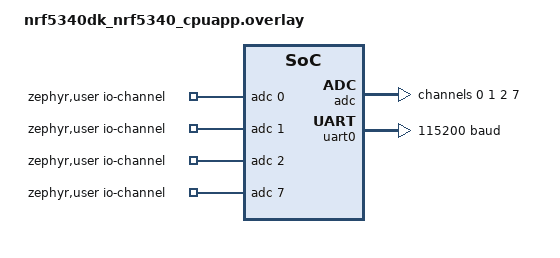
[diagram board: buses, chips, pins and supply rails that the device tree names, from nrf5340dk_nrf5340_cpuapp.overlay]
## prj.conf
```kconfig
#
# Copyright (c) 2018 Nordic Semiconductor
#
# SPDX-License-Identifier: LicenseRef-Nordic-5-Clause
#

# Logger module
#CONFIG_LOG=y    #Deeksha- commented this line and added below 2 lines for power reduction
CONFIG_LOG=n
CONFIG_SERIAL=n
CONFIG_ADC=y
# Segger RTT
# CONFIG_LOG_PRINTK=y
# CONFIG_USE_SEGGER_RTT=y
# CONFIG_RTT_CONSOLE=y
# CONFIG_UART_CONSOLE=n
# CONFIG_LOG_BACKEND_RTT=y
# CONFIG_LOG_BACKEND_UART=n
# CONFIG_ADC=y

# Bluetooth LE
CONFIG_BT=y
CONFIG_BT_DEVICE_NAME="MilliMobile"
CONFIG_BT_PERIPHERAL=y
CONFIG_BT_DEVICE_NAME_DYNAMIC=y
CONFIG_BT_OBSERVER=y
CONFIG_BT_BROADCASTER=y

# Increase stack size for the main thread and System Workqueue
CONFIG_SYSTEM_WORKQUEUE_STACK_SIZE=2048
CONFIG_MAIN_STACK_SIZE=2048

#CONFIG_PM=y
#CONFIG_PM_DEVICE=y
```

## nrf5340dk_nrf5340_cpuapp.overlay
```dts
// To get started, press Ctrl+Space (or Option+Esc) to bring up the completion menu and view the available nodes.

// You can also use the buttons in the sidebar to perform actions on nodes.
// Actions currently available include:

// * Enabling / disabling the node
// * Adding the bus to a bus
// * Removing the node
// * Connecting ADC channels

// For more help, browse the DeviceTree documentation at https://docs.zephyrproject.org/latest/guides/dts/index.html
// You can also visit the nRF DeviceTree extension documentation at https://nrfconnect.github.io/vscode-nrf-connect/devicetree/nrfdevicetree.html
/ {
	zephyr,user {
		io-channels = <&adc 0>, <&adc 1>, <&adc 2>, <&adc 7>;
	};
};

/ {
    chosen {
        zephyr,console = &uart0;
        zephyr,shell-uart = &uart0;
        zephyr,uart-mcumgr = &uart0;
    };
};

&adc {
	#address-cells = <1>;
	#size-cells = <0>;

	channel@0 {
		reg = <0>;
		zephyr,gain = "ADC_GAIN_1_6";
		zephyr,reference = "ADC_REF_INTERNAL";
		zephyr,acquisition-time = <ADC_ACQ_TIME(ADC_ACQ_TIME_MICROSECONDS, 40)>;
		zephyr,input-positive = <NRF_SAADC_AIN0>;
        zephyr,resolution = < 12 >;
	};

	channel@1 {
		reg = <1>;
		zephyr,gain = "ADC_GAIN_1_6";
		zephyr,reference = "ADC_REF_INTERNAL";
		zephyr,acquisition-time = <ADC_ACQ_TIME(ADC_ACQ_TIME_MICROSECONDS, 40)>;
		zephyr,input-positive = <NRF_SAADC_AIN1>;
        zephyr,resolution = < 12 >;
	};

	channel@2 {
		reg = <2>;
		zephyr,gain = "ADC_GAIN_1_6";
		zephyr,reference = "ADC_REF_INTERNAL";
		zephyr,acquisition-time = <ADC_ACQ_TIME(ADC_ACQ_TIME_MICROSECONDS, 40)>;
		zephyr,input-positive = <NRF_SAADC_AIN2>;
        zephyr,resolution = < 12 >;
	};

	channel@7 {
		reg = <7>;
		zephyr,gain = "ADC_GAIN_1";
		zephyr,reference = "ADC_REF_INTERNAL";
		zephyr,acquisition-time = <ADC_ACQ_TIME_DEFAULT>;
		zephyr,input-positive = <NRF_SAADC_AIN4>; // P0.25
		zephyr,input-negative = <NRF_SAADC_AIN3>; // P0.07
		zephyr,resolution = <12>;
		zephyr,oversampling = <4>; // oversampling to smooth out ADC noise
	};
}; 

&uart0 {
    current-speed = <115200>;
    status = "okay";
};

// &uart0 {
//    status = "disabled";
// };

// &uart1 {
//    status = "disabled";
//};
```

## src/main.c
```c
/*
 * Copyright (c) 2023 Nordic Semiconductor ASA
 *
 * SPDX-License-Identifier: LicenseRef-Nordic-5-Clause
 */

#include <zephyr/kernel.h>
#include <zephyr/logging/log.h>
#include <zephyr/bluetooth/bluetooth.h>
#include <zephyr/bluetooth/gap.h>
#include <zephyr/drivers/gpio.h>
#include <zephyr/drivers/adc.h>
#include <zephyr/pm/pm.h>
#include <zephyr/device.h>
#include <zephyr/sys/printk.h>
#include <zephyr/sys/time_units.h>


//#include <pm/pm.h>  
// #include <device.h> 
void robot_step(struct k_work *work);


//////////////////////// BLE //////////////////////////
#define MSEC_TO_BLE_UNITS(TIME_MS) ((TIME_MS) * 1000 / 625)

#define MIN_BLUETOOTH_INTERVAL MSEC_TO_BLE_UNITS(500)
#define MAX_BLUETOOTH_INTERVAL MSEC_TO_BLE_UNITS(501)

static struct bt_le_adv_param *adv_param =
    BT_LE_ADV_PARAM(BT_LE_ADV_OPT_NONE,
                    MIN_BLUETOOTH_INTERVAL,
                    MAX_BLUETOOTH_INTERVAL,
                    NULL);

#define DEVICE_NAME CONFIG_BT_DEVICE_NAME
#define DEVICE_NAME_LEN (sizeof(DEVICE_NAME) - 1)

static const struct bt_data ad[] = {
    BT_DATA_BYTES(BT_DATA_FLAGS, BT_LE_AD_NO_BREDR),
    BT_DATA(BT_DATA_NAME_COMPLETE, DEVICE_NAME, DEVICE_NAME_LEN),
};

//////////////////////// BLE //////////////////////////

//TIMING (all ms)
#define ADC_TIME 10 // Time delay to allow ADC reads of all channels
#define MOTOR_SHUTOFF_TIME 50 // Time delay to shutoff motors after being triggered
#define ROBOT_STEP_TIME 150 // Time delay between robot steps

/*Timing Constraints
ADC_TIME must be greater than the time it takes to read all ADC channels. readADC() is called ADC_TIME ms before robot_step() is called
MOTOR_SHUTOFF_TIME is the time the motors are left turned on after being triggered. This value must be smaller than ROBOT_STEP_TIME - ADC_TIME, 
        otherwise the ADC will be reading the motor capacitors while they are still being discharged
ROBOT_STEP_TIME is the time between robot steps. 

*/


//////////////////////// ADC //////////////////////////


// Constants for min val read on ADC for capacitor to discharge/recharge
#define SUPER_CAP_THRESHOLD_MV 2000 //190// Need to tune this value
#define MOTOR_CAP_RELEASE_THRESHOLD_MV 3000//310 //need to tune
#define SUPER_CAP_THRESHOLD (SUPER_CAP_THRESHOLD_MV / 2)
#define MOTOR_CAP_RELEASE_THRESHOLD (MOTOR_CAP_RELEASE_THRESHOLD_MV / 6)

// Define pins/state for capacitors
uint16_t cap_switch_state = 0; // 0: to supercap, 1: to motor cap
const struct device *gpio0;
const struct device *gpio1;
#define CAP_SWITCH_PIN 23  // gpio 0
#define MOTOR_1_CAP_PIN 13 // gpio 1
#define MOTOR_2_CAP_PIN 21 // gpio 0

// error variable
int err;

// ADC defs
#if !DT_NODE_EXISTS(DT_PATH(zephyr_user)) || \
	!DT_NODE_HAS_PROP(DT_PATH(zephyr_user), io_channels)
#error "No suitable devicetree overlay specified"
#endif

#define DT_SPEC_AND_COMMA(node_id, prop, idx) \
	ADC_DT_SPEC_GET_BY_IDX(node_id, idx),

/* Data of ADC io-channels specified in devicetree. */
static const struct adc_dt_spec adc_channels[] = {
	DT_FOREACH_PROP_ELEM(DT_PATH(zephyr_user), io_channels,
			     DT_SPEC_AND_COMMA)
};
uint32_t count = 0;
	uint16_t buf;
	struct adc_sequence sequence = {
		.buffer = &buf,
		/* buffer size in bytes, not number of samples */
		.buffer_size = sizeof(buf),
                .resolution = 10,
	};

// ADC MV Buffer
int32_t adc_outputs_mv[ARRAY_SIZE(adc_channels)];
#define SUPER_CAP_IDX 0
#define MOTOR_CAP_1_IDX 1
#define MOTOR_CAP_2_IDX 2

// Motion State (Left, Right, Straight)
#define STRAIGHT 0
#define LEFT 1
#define RIGHT 2
#define STOP 3
uint16_t motion_state = STRAIGHT;

K_WORK_DEFINE(robot_step_work, robot_step);

void robot_step_timer_handler(struct k_timer *dummy)
{
        k_work_submit(&robot_step_work);
}
K_TIMER_DEFINE(robot_step_timer, robot_step_timer_handler, NULL);


int initCapGPIO()
{
        gpio0 = device_get_binding(DEVICE_DT_NAME(DT_NODELABEL(gpio0)));
        gpio1 = device_get_binding(DEVICE_DT_NAME(DT_NODELABEL(gpio1)));
        int cap_switch_pin_err;
        int motor_1_cap_pin_err;
        int motor_2_cap_pin_err;

        cap_switch_pin_err = gpio_pin_configure(gpio0, CAP_SWITCH_PIN, GPIO_OUTPUT | GPIO_OUTPUT_INIT_LOW);
        motor_1_cap_pin_err = gpio_pin_configure(gpio1, MOTOR_1_CAP_PIN, GPIO_OUTPUT | GPIO_OUTPUT_INIT_LOW);
        motor_2_cap_pin_err = gpio_pin_configure(gpio0, MOTOR_2_CAP_PIN, GPIO_OUTPUT | GPIO_OUTPUT_INIT_LOW);
        if (cap_switch_pin_err < 0 || motor_1_cap_pin_err < 0 || motor_2_cap_pin_err < 0) return -1;

       // printk("GPIO initialized\n");

        return 0;
}

int initADC()
{
       /* Configure channels individually prior to sampling. */
	for (size_t i = 0U; i < ARRAY_SIZE(adc_channels); i++) {
		if (!device_is_ready(adc_channels[i].dev)) {
			//printk("ADC controller device %s not ready\n", adc_channels[i].dev->name);
			return 1;
		}

		err = adc_channel_setup_dt(&adc_channels[i]);

		if (err < 0) {
			//printk("Could not setup channel #%d (%d)\n", i, err);
			return 1;
		}
	}
        return 0;
}

void readADC(struct k_work *work) //reads all ADC channels and stores mV outputs in adc_outputs_mv array
{
       //printk("ADC reading[%u]:\n", count++);
        for (size_t i = 0U; i < ARRAY_SIZE(adc_channels); i++) {

                //printk("- %s, channel %d: ",
                //        adc_channels[i].dev->name,
                //        adc_channels[i].channel_id);
                

                (void)adc_sequence_init_dt(&adc_channels[i], &sequence);

                err = adc_read(adc_channels[i].dev, &sequence);
                if (err < 0) {
                        //printk("Could not read (%d)\n", err);
                        continue;
                }

                /*
                        * If using differential mode, the 16 bit value
                        * in the ADC sample buffer should be a signed 2's
                        * complement value.
                        */
                if (adc_channels[i].channel_cfg.differential) {
                        adc_outputs_mv[i] = (int32_t)((int16_t)buf);
                } else {
                        adc_outputs_mv[i] = (int32_t)buf;
                }
               // printk("Raw Value: %d, ", adc_outputs_mv[i]);
                //adc_outputs_mv[i] = adc_raw_to_millivolts_dt(&adc_channels[i], &val);
                adc_raw_to_millivolts(adc_ref_internal(adc_channels[i].dev), adc_channels[i].channel_cfg.gain, adc_channels[i].resolution, &adc_outputs_mv[i]);
                //adc_outputs_mv[i] = (int32_t)buf;
               // printk("MV Value: %d\n", adc_outputs_mv[i]);
        }
}
K_WORK_DEFINE(adc_work, readADC);

void adc_timer_handler(struct k_timer *dummy)
{
        k_work_submit(&adc_work);
}
K_TIMER_DEFINE(adc_timer, adc_timer_handler, NULL);

void motorShutoff(struct k_work *work)
{
        gpio_pin_set(gpio1, MOTOR_1_CAP_PIN, 0);
        gpio_pin_set(gpio0, MOTOR_2_CAP_PIN, 0);
}

K_WORK_DEFINE(motor_shutoff_work, motorShutoff);

void motor_shutoff_timer_handler(struct k_timer *dummy)
{
        k_work_submit(&motor_shutoff_work);
}
K_TIMER_DEFINE(motor_shutoff_timer, motor_shutoff_timer_handler, NULL);


void robot_step(struct k_work *work)
{       
        if(adc_outputs_mv[SUPER_CAP_IDX] <= SUPER_CAP_THRESHOLD){
                gpio_pin_set(gpio0, CAP_SWITCH_PIN, 0);
                //printk("Switching to supercap\n");
        }
        else
        {
                gpio_pin_set(gpio0, CAP_SWITCH_PIN, 1);
                //printk("Switching to motor caps\n");
                if(adc_outputs_mv[MOTOR_CAP_1_IDX] >= MOTOR_CAP_RELEASE_THRESHOLD && adc_outputs_mv[MOTOR_CAP_2_IDX] >= MOTOR_CAP_RELEASE_THRESHOLD){
                        switch (motion_state)
                        {
                        case STRAIGHT:
                                gpio_pin_set(gpio1, MOTOR_1_CAP_PIN, 1);
                                gpio_pin_set(gpio0, MOTOR_2_CAP_PIN, 1);
                                break;
                        
                        case LEFT:
                                gpio_pin_set(gpio0, MOTOR_2_CAP_PIN, 1);                    
                                break;
                        case RIGHT:
                                gpio_pin_set(gpio1, MOTOR_1_CAP_PIN, 1);
                                break;
                        case STOP:
                                /* do nothing lol */
                                break;
                        default:
                                break;  
                        }
                       // printk("motors triggered\n");
                        
                        k_timer_start(&motor_shutoff_timer, K_MSEC(MOTOR_SHUTOFF_TIME), K_NO_WAIT);
                }
        }
        k_timer_start(&adc_timer, K_MSEC(ROBOT_STEP_TIME - ADC_TIME), K_NO_WAIT);
        k_timer_start(&robot_step_timer, K_MSEC(ROBOT_STEP_TIME), K_NO_WAIT);
        //printk("Robot Step\n");
        return;
}
void main(void)
{
	if (initCapGPIO() != 0) return;

	if (initADC() != 0) return;

	k_timer_start(&adc_timer, K_MSEC(ADC_TIME), K_NO_WAIT);
        k_timer_start(&robot_step_timer, K_MSEC(ADC_TIME*2), K_NO_WAIT);

	err = bt_enable(NULL);
	if (err) return;

	err = bt_le_adv_start(adv_param, ad, ARRAY_SIZE(ad), NULL, 0);
	if (err) return;

	for (;;) {
		k_cpu_idle();
	}
}
```

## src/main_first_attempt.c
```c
/*
 * Copyright (c) 2023 Nordic Semiconductor ASA
 *
 * SPDX-License-Identifier: LicenseRef-Nordic-5-Clause
 */

#include <zephyr/kernel.h>
#include <zephyr/logging/log.h>
#include <zephyr/bluetooth/bluetooth.h>
#include <zephyr/bluetooth/gap.h>
#include <zephyr/bluetooth/hci.h>
#include <zephyr/drivers/gpio.h>
#include <zephyr/drivers/adc.h>
#include <zephyr/pm/pm.h>
#include <zephyr/device.h>
#include <zephyr/sys/printk.h>
#include <zephyr/sys/time_units.h>

// laser communication includes
#include <inttypes.h>
#include <stddef.h>
#include <stdint.h>

#include <zephyr/device.h>
#include <zephyr/devicetree.h>
#include <zephyr/drivers/adc.h>
#include <zephyr/kernel.h>
#include <zephyr/sys/printk.h>
#include <zephyr/sys/util.h>

#if !DT_NODE_EXISTS(DT_PATH(zephyr_user)) || !DT_NODE_HAS_PROP(DT_PATH(zephyr_user), io_channels)
	#error "No suitable devicetree overlay specified"
#endif

// Create array of available ADC channels
#define DT_SPEC_AND_COMMA(node_id, prop, idx) ADC_DT_SPEC_GET_BY_IDX(node_id, idx),

int adc_err = 0; // ADC errors
int32_t adc_val = 0; // Latest ADC value
uint16_t adc_val_buf; // ADC buffer to use for mV conversion 
struct adc_sequence adc_seq = {
	.buffer = &adc_val_buf,
	.buffer_size = sizeof(adc_val_buf)
};

void robot_step(struct k_work *work);

//////////////////////// BLE //////////////////////////
#define MSEC_TO_BLE_UNITS(TIME_MS) ((TIME_MS) * 1000 / 625)

#define MIN_BLUETOOTH_INTERVAL MSEC_TO_BLE_UNITS(500)
#define MAX_BLUETOOTH_INTERVAL MSEC_TO_BLE_UNITS(501)

static struct bt_le_adv_param *adv_param =
    BT_LE_ADV_PARAM(BT_LE_ADV_OPT_NONE,
                    MIN_BLUETOOTH_INTERVAL,
                    MAX_BLUETOOTH_INTERVAL,
                    NULL);

#define DEVICE_NAME CONFIG_BT_DEVICE_NAME
#define DEVICE_NAME_LEN (sizeof(DEVICE_NAME) - 1)

static const struct bt_data ad[] = {
    BT_DATA_BYTES(BT_DATA_FLAGS, BT_LE_AD_NO_BREDR),
    BT_DATA(BT_DATA_NAME_COMPLETE, DEVICE_NAME, DEVICE_NAME_LEN),
};

//////////////////////// BLE //////////////////////////

//TIMING (all ms)
#define ADC_TIME 10 // Time delay to allow ADC reads of all channels
#define MOTOR_SHUTOFF_TIME 50 // Time delay to shutoff motors after being triggered
#define ROBOT_STEP_TIME 150 // Time delay between robot steps

/*Timing Constraints
ADC_TIME must be greater than the time it takes to read all ADC channels. readADC() is called ADC_TIME ms before robot_step() is called
MOTOR_SHUTOFF_TIME is the time the motors are left turned on after being triggered. This value must be smaller than ROBOT_STEP_TIME - ADC_TIME, 
        otherwise the ADC will be reading the motor capacitors while they are still being discharged
ROBOT_STEP_TIME is the time between robot steps. 

*/


//////////////////////// ADC //////////////////////////


// Constants for min val read on ADC for capacitor to discharge/recharge
#define SUPER_CAP_THRESHOLD_MV 2000 //190// Need to tune this value
#define MOTOR_CAP_RELEASE_THRESHOLD_MV 3000//310 //need to tune
#define SUPER_CAP_THRESHOLD (SUPER_CAP_THRESHOLD_MV / 2)
#define MOTOR_CAP_RELEASE_THRESHOLD (MOTOR_CAP_RELEASE_THRESHOLD_MV / 6)

// Define pins/state for capacitors
uint16_t cap_switch_state = 0; // 0: to supercap, 1: to motor cap
const struct device *gpio0;
const struct device *gpio1;
#define CAP_SWITCH_PIN 23  // gpio 0
#define MOTOR_1_CAP_PIN 13 // gpio 1
#define MOTOR_2_CAP_PIN 21 // gpio 0

// error variable
int err;

// ADC defs
#if !DT_NODE_EXISTS(DT_PATH(zephyr_user)) || \
	!DT_NODE_HAS_PROP(DT_PATH(zephyr_user), io_channels)
#error "No suitable devicetree overlay specified"
#endif

#define DT_SPEC_AND_COMMA(node_id, prop, idx) \
	ADC_DT_SPEC_GET_BY_IDX(node_id, idx),

/* Data of ADC io-channels specified in devicetree. */
static const struct adc_dt_spec adc_channels[] = {
	DT_FOREACH_PROP_ELEM(DT_PATH(zephyr_user), io_channels,
			     DT_SPEC_AND_COMMA)
};
uint32_t count = 0;
uint16_t buf;
struct adc_sequence sequence = {
        .buffer = &buf,
        /* buffer size in bytes, not number of samples */
        .buffer_size = sizeof(buf),
        .resolution = 10,
};



// ADC MV Buffer
int32_t adc_outputs_mv[ARRAY_SIZE(adc_channels)];
#define SUPER_CAP_IDX 0
#define MOTOR_CAP_1_IDX 1
#define MOTOR_CAP_2_IDX 2

// Constants
#define FS_HZ 200 // Sampling frequency [Hz]
#define N 64 // Number of samples in ADC buffer (larger ==> smoother ==> slower)
#define M 16 // Number of samples in frequency buffer (larger ==> smoother ==> slower)
#define ADC_COMMS_CHAN 7 // ADC channel to use for communication
#define MIN_MV_RANGE 0 // Minimum peak-to-peak mV needed to establish communication
#define DEMOD_THRESH 50 // Threshold in [0, 100] to use as demodulation threshold

#define COMM_INTERVAL_MS (1000 / FS_HZ) // Interval in milliseconds


K_WORK_DEFINE(robot_step_work, robot_step);

void robot_step_timer_handler(struct k_timer *dummy)
{
        k_work_submit(&robot_step_work);
}
K_TIMER_DEFINE(robot_step_timer, robot_step_timer_handler, NULL);

void comm_timer_handler(struct k_timer *dummy);
void comm_sampling_work_handler(struct k_work *work);

K_TIMER_DEFINE(comm_timer, comm_timer_handler, NULL);
K_WORK_DEFINE(comm_work, comm_sampling_work_handler);

void comm_timer_handler(struct k_timer *dummy) {
	k_work_submit(&comm_work);
}

// Buffer stats
typedef struct buffer_stats {
	int avg;
	int max;
	int min;
	int range;
} buffer_stats;

// ADC ring buffer of size N
int adc_buf[N] = {0};
int n = 0;
struct buffer_stats adc_stats;

// FSK ring buffer
int f_buf[M] = {0};
int m = 0;
struct buffer_stats f_stats;

// Demodulation vars
int norm = 0;
int64_t t_rise_prev = 0;
bool state = 0;

int command = 0; // -1 left, 0 straight, 1 right
int consecutive_count_12hz = 0;
int consecutive_count_25hz = 0;
const int HYSTERESIS_THRESHOLD = 3; 

const float F_AVG_12HZ_LOWER = 11.0; // Upper bound: 1 / (12 Hz + 1 Hz)
const float F_AVG_12HZ_UPPER = 13.0; // Lower bound: 1 / (12 Hz - 1 Hz)
const float F_AVG_25HZ_LOWER = 24.0; // Upper bound: 1 / (25 Hz + 1 Hz)
const float F_AVG_25HZ_UPPER = 26.0;

void update_command(int f_avg) {
    // Print the f_avg value
    // int f_avg_scaled = (int)(f_avg * 1000); // Scale to show three decimal places
    // printk(">f_avg: %d.%03d ms\n", f_avg_scaled / 1000, f_avg_scaled % 1000);

    // Check for 12 Hz range using f_avg
    if (f_avg >= F_AVG_12HZ_LOWER && f_avg <= F_AVG_12HZ_UPPER) {
        consecutive_count_25hz = 0; // Reset the other frequency's counter
        if (++consecutive_count_12hz >= HYSTERESIS_THRESHOLD) {
            command = -1;
            consecutive_count_12hz = HYSTERESIS_THRESHOLD; // Cap the count to avoid overflow
        }
    }
    // Check for 25 Hz range using f_avg
    else if (f_avg >= F_AVG_25HZ_LOWER && f_avg <= F_AVG_25HZ_UPPER) {
        consecutive_count_12hz = 0; // Reset the other frequency's counter
        if (++consecutive_count_25hz >= HYSTERESIS_THRESHOLD) {
            command = 1;
            consecutive_count_25hz = HYSTERESIS_THRESHOLD; // Cap the count to avoid overflow
        }
    }
    // Outside the target ranges
    else {
        consecutive_count_12hz = 0;
        consecutive_count_25hz = 0;
        command = 0;
    }
}

// Update buffer stats
void update_buffer_stats(int *buffer, int len, buffer_stats *stats) {
	int max = -100000;
	int min = 100000;
	for (int j = 0; j < len; j++) {
		stats->avg += buffer[j];
		if (buffer[j] <= min) { min = buffer[j]; }
		if (buffer[j] >= max) { max = buffer[j]; }
	}
	stats->min = min;
	stats->max = max;
	stats->avg /= len;
	stats->range = NRFX_ABS(stats->max - stats->min);
}

void comm_sampling_work_handler(struct k_work *work)
{
    // Perform ADC sampling + conversion on all available channels
    for (size_t i = 0U; i < ARRAY_SIZE(adc_channels); i++) {
        (void) adc_sequence_init_dt(&adc_channels[i], &adc_seq);
        adc_err = adc_read_dt(&adc_channels[i], &adc_seq);
        if (adc_err < 0) {
            printk("Could not read ADC channel (%d)\n", adc_err);
            continue;
        }
        if (adc_channels[i].channel_cfg.differential) {
            adc_val = (int32_t) ((int16_t) adc_val_buf);
        } else {
            adc_val = (int32_t) adc_val_buf;
        }
        adc_err = adc_raw_to_millivolts_dt(&adc_channels[i], &adc_val);
        if (adc_err < 0) {
            printk("ADC conversion to mV failed (%d)\n", adc_err);
        } else if (adc_channels[i].channel_id == ADC_COMMS_CHAN) {
            // Store the comm's ADC value in ring buffer
            adc_buf[n % N] = adc_val;
            n += 1;
        }
    }

    // Compute ADC buffer stats
    update_buffer_stats(adc_buf, N, &adc_stats);
    
    // Normalize adc_value to [0, 100]
    norm = 100.0 * (adc_val - adc_stats.min) / (adc_stats.max - adc_stats.min);
    
    // Start timer on 0->1 transition
    if ((norm > DEMOD_THRESH) & (state == 0)) {
        f_buf[m % M] = DIV_ROUND_CLOSEST(1000, k_uptime_get() - t_rise_prev);
        m += 1;
        t_rise_prev = k_uptime_get();
        state = 1;
    // Update state on 1->0 transition
    } else if ((norm < DEMOD_THRESH) & (state == 1)) {
        state = 0;
    }
    printk("value:%d\n", norm);
    printk("state:%d\n", state);

    // Compute stats on received freqs
    update_buffer_stats(f_buf, M, &f_stats);

    // Output
    if (NRFX_ABS(adc_stats.range) >= MIN_MV_RANGE) {
        printk(">mv:%d\n", adc_val);
        printk(">norm:%d\n", norm);
        printk(">favg:%d\n", f_stats.avg);
        printk(">mvrange:%d\n", adc_stats.range);
    }
    update_command(f_stats.avg);
}

int initCapGPIO()
{
        gpio0 = device_get_binding(DEVICE_DT_NAME(DT_NODELABEL(gpio0)));
        gpio1 = device_get_binding(DEVICE_DT_NAME(DT_NODELABEL(gpio1)));
        int cap_switch_pin_err;
        int motor_1_cap_pin_err;
        int motor_2_cap_pin_err;

        cap_switch_pin_err = gpio_pin_configure(gpio0, CAP_SWITCH_PIN, GPIO_OUTPUT | GPIO_OUTPUT_INIT_LOW);
        motor_1_cap_pin_err = gpio_pin_configure(gpio1, MOTOR_1_CAP_PIN, GPIO_OUTPUT | GPIO_OUTPUT_INIT_LOW);
        motor_2_cap_pin_err = gpio_pin_configure(gpio0, MOTOR_2_CAP_PIN, GPIO_OUTPUT | GPIO_OUTPUT_INIT_LOW);
        if (cap_switch_pin_err < 0 || motor_1_cap_pin_err < 0 || motor_2_cap_pin_err < 0) return -1;

       // printk("GPIO initialized\n");

        return 0;
}

int initADC()
{
       /* Configure channels individually prior to sampling. */
	for (size_t i = 0U; i < ARRAY_SIZE(adc_channels); i++) {
		if (!device_is_ready(adc_channels[i].dev)) {
			//printk("ADC controller device %s not ready\n", adc_channels[i].dev->name);
			return 1;
		}

		err = adc_channel_setup_dt(&adc_channels[i]);

		if (err < 0) {
			//printk("Could not setup channel #%d (%d)\n", i, err);
			return 1;
		}
	}
        return 0;
}

void readADC(struct k_work *work) //reads all ADC channels and stores mV outputs in adc_outputs_mv array
{
       //printk("ADC reading[%u]:\n", count++);
        for (size_t i = 0U; i < ARRAY_SIZE(adc_channels); i++) {

                //printk("- %s, channel %d: ",
                //        adc_channels[i].dev->name,
                //        adc_channels[i].channel_id);
                

                (void)adc_sequence_init_dt(&adc_channels[i], &sequence);

                err = adc_read(adc_channels[i].dev, &sequence);
                if (err < 0) {
                        //printk("Could not read (%d)\n", err);
                        continue;
                }

                /*
                        * If using differential mode, the 16 bit value
                        * in the ADC sample buffer should be a signed 2's
                        * complement value.
                        */
                if (adc_channels[i].channel_cfg.differential) {
                        adc_outputs_mv[i] = (int32_t)((int16_t)buf);
                } else {
                        adc_outputs_mv[i] = (int32_t)buf;
                }
               // printk("Raw Value: %d, ", adc_outputs_mv[i]);
                //adc_outputs_mv[i] = adc_raw_to_millivolts_dt(&adc_channels[i], &val);
                adc_raw_to_millivolts(adc_ref_internal(adc_channels[i].dev), adc_channels[i].channel_cfg.gain, adc_channels[i].resolution, &adc_outputs_mv[i]);
                //adc_outputs_mv[i] = (int32_t)buf;
               // printk("MV Value: %d\n", adc_outputs_mv[i]);
        }
        // update_advertising_data(adc_outputs_mv[MOTOR_CAP_1_IDX]);
        int current_command = command;

        // Perform actions based on the command value
        switch (current_command) {
                case -1:
                // Action for command = -1
                printk("Command is -1: Performing action for 12 Hz\n");
                break;
                case 0:
                // Action for command = 0
                printk("Command is 0: Performing default action\n");
                break;
                case 1:
                // Action for command = 1
                printk("Command is 1: Performing action for 25 Hz\n");
                break;
                default:
                // Handle unexpected command values
                printk("Unexpected command value: %d\n", current_command);
                break;
        }


}
K_WORK_DEFINE(adc_work, readADC);

void adc_timer_handler(struct k_timer *dummy)
{
        k_work_submit(&adc_work);
}
K_TIMER_DEFINE(adc_timer, adc_timer_handler, NULL);

void motorShutoff(struct k_work *work)
{
        gpio_pin_set(gpio1, MOTOR_1_CAP_PIN, 0);
        gpio_pin_set(gpio0, MOTOR_2_CAP_PIN, 0);
}

K_WORK_DEFINE(motor_shutoff_work, motorShutoff);

void motor_shutoff_timer_handler(struct k_timer *dummy)
{
        k_work_submit(&motor_shutoff_work);
}
K_TIMER_DEFINE(motor_shutoff_timer, motor_shutoff_timer_handler, NULL);


void robot_step(struct k_work *work)
{       
        if(adc_outputs_mv[SUPER_CAP_IDX] <= SUPER_CAP_THRESHOLD){
                gpio_pin_set(gpio0, CAP_SWITCH_PIN, 0);
                //printk("Switching to supercap\n");
        }
        else
        {
                gpio_pin_set(gpio0, CAP_SWITCH_PIN, 1);
                //printk("Switching to motor caps\n");
                if(adc_outputs_mv[MOTOR_CAP_1_IDX] >= MOTOR_CAP_RELEASE_THRESHOLD && adc_outputs_mv[MOTOR_CAP_2_IDX] >= MOTOR_CAP_RELEASE_THRESHOLD){
                       // printk("motors triggered\n");
                        gpio_pin_set(gpio1, MOTOR_1_CAP_PIN, 1);
                        gpio_pin_set(gpio0, MOTOR_2_CAP_PIN, 1);
                        k_timer_start(&motor_shutoff_timer, K_MSEC(MOTOR_SHUTOFF_TIME), K_NO_WAIT);
                }
        }
        k_timer_start(&adc_timer, K_MSEC(ROBOT_STEP_TIME - ADC_TIME), K_NO_WAIT);
        k_timer_start(&robot_step_timer, K_MSEC(ROBOT_STEP_TIME), K_NO_WAIT);
        //printk("Robot Step\n");
        return;
}
void main(void)
{
        printk("hello\n");
	if (initCapGPIO() != 0) return;

	if (initADC() != 0) return;

	k_timer_start(&adc_timer, K_MSEC(ADC_TIME), K_NO_WAIT);
        k_timer_start(&comm_timer, K_MSEC(COMM_INTERVAL_MS), K_NO_WAIT);
        k_timer_start(&robot_step_timer, K_MSEC(ADC_TIME*2), K_NO_WAIT);

	err = bt_enable(NULL);
	if (err) return;

        err = bt_le_adv_start(adv_param, ad, ARRAY_SIZE(ad), NULL, 0);
        // err = bt_le_adv_start(adv_param, ad, ARRAY_SIZE(ad), sd, ARRAY_SIZE(sd));
	if (err) return;

	for (;;) {
		k_cpu_idle();
	}
}
```

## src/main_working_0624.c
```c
/*
 * Copyright (c) 2023 Nordic Semiconductor ASA
 *
 * SPDX-License-Identifier: LicenseRef-Nordic-5-Clause
 */

#include <zephyr/kernel.h>
#include <zephyr/logging/log.h>
#include <zephyr/bluetooth/bluetooth.h>
#include <zephyr/bluetooth/gap.h>
#include <zephyr/bluetooth/hci.h>
#include <zephyr/drivers/gpio.h>
#include <zephyr/drivers/adc.h>
#include <zephyr/pm/pm.h>
#include <zephyr/device.h>
#include <zephyr/sys/printk.h>
#include <zephyr/sys/time_units.h>

#include <inttypes.h>
#include <stddef.h>
#include <stdint.h>

#include <zephyr/device.h>
#include <zephyr/devicetree.h>
#include <zephyr/drivers/adc.h>
#include <zephyr/kernel.h>
#include <zephyr/sys/printk.h>
#include <zephyr/sys/util.h>

#if !DT_NODE_EXISTS(DT_PATH(zephyr_user)) || !DT_NODE_HAS_PROP(DT_PATH(zephyr_user), io_channels)
	#error "No suitable devicetree overlay specified"
#endif

#define DT_SPEC_AND_COMMA(node_id, prop, idx) ADC_DT_SPEC_GET_BY_IDX(node_id, idx),
/* Data of ADC io-channels specified in devicetree. */
static const struct adc_dt_spec adc_channels[] = {
	DT_FOREACH_PROP_ELEM(DT_PATH(zephyr_user), io_channels,
			     DT_SPEC_AND_COMMA)
};

int adc_err = 0; // ADC errors
int32_t adc_val = 0; // Latest ADC value
uint16_t adc_val_buf; // ADC buffer to use for mV conversion 
struct adc_sequence adc_seq = {
	.buffer = &adc_val_buf,
	.buffer_size = sizeof(adc_val_buf)
};

// Constants
#define FS_HZ 500 // Sampling frequency [Hz]
#define N 32 // Number of samples in ADC buffer (larger ==> smoother ==> slower)
#define M 8 // Number of samples in frequency buffer (larger ==> smoother ==> slower)
#define ADC_COMMS_CHAN 7 // ADC channel to use for communication
#define MIN_MV_RANGE 0 // Minimum peak-to-peak mV needed to establish communication
#define DEMOD_THRESH 50 // Threshold in [0, 100] to use as demodulation threshold

#define COMM_INTERVAL_MS (1000 / FS_HZ) // Interval in milliseconds

void comm_timer_handler(struct k_timer *dummy);
void comm_sampling_work_handler(struct k_work *work);

K_TIMER_DEFINE(comm_timer, comm_timer_handler, NULL);
K_WORK_DEFINE(comm_work, comm_sampling_work_handler);

void comm_timer_handler(struct k_timer *dummy) {
	k_work_submit(&comm_work);
}

// Buffer stats
typedef struct buffer_stats {
	float avg;
	int max;
	int min;
	int range;
} buffer_stats;

// ADC ring buffer of size N
int adc_buf[N] = {0};
int n = 0;
struct buffer_stats adc_stats;

// FSK ring buffer
int f_buf[M] = {0};
int m = 0;
struct buffer_stats f_stats;

// Demodulation vars
int norm = 0;
int64_t t_rise_prev = 0;
bool state = 0;

// Update buffer stats
void update_buffer_stats(int *buffer, int len, buffer_stats *stats) {
	int max = -100000;
	int min = 100000;
	for (int j = 0; j < len; j++) {
		stats->avg += buffer[j];
		if (buffer[j] <= min) { min = buffer[j]; }
		if (buffer[j] >= max) { max = buffer[j]; }
	}
	stats->min = min;
	stats->max = max;
	stats->avg /= len;
	stats->range = NRFX_ABS(stats->max - stats->min);
}

int command = 0;
int consecutive_count_12hz = 0;
int consecutive_count_25hz = 0;
const int HYSTERESIS_THRESHOLD = 3; 

const float F_AVG_12HZ_LOWER = 11.5; // Upper bound: 1 / (12 Hz + 1 Hz)
const float F_AVG_12HZ_UPPER = 12.5; // Lower bound: 1 / (12 Hz - 1 Hz)
const float F_AVG_25HZ_LOWER = 24.5; // Upper bound: 1 / (25 Hz + 1 Hz)
const float F_AVG_25HZ_UPPER = 25.5;

int64_t prev_time = 0;

void update_command(int f_avg) {
	printk(">f_avg: %d\n", f_avg);
    // printk(">time: %d\n", DIV_ROUND_CLOSEST(100000, k_uptime_get() - prev_time));
    // printk(">time: %lld ms\n", k_uptime_get());
    // prev_time = k_uptime_get();

    // Check for 12 Hz range using f_avg
    if (f_avg >= F_AVG_12HZ_LOWER && f_avg <= F_AVG_12HZ_UPPER) {
        consecutive_count_25hz = 0; // Reset the other frequency's counter
        if (++consecutive_count_12hz >= HYSTERESIS_THRESHOLD) {
            command = -1;
            consecutive_count_12hz = HYSTERESIS_THRESHOLD; // Cap the count to avoid overflow
        }
    }
    // Check for 25 Hz range using f_avg
    else if (f_avg >= F_AVG_25HZ_LOWER && f_avg <= F_AVG_25HZ_UPPER) {
        consecutive_count_12hz = 0; // Reset the other frequency's counter
        if (++consecutive_count_25hz >= HYSTERESIS_THRESHOLD) {
            command = 1;
            consecutive_count_25hz = HYSTERESIS_THRESHOLD; // Cap the count to avoid overflow
        }
    }
    // Outside the target ranges
    else {
        consecutive_count_12hz = 0;
        consecutive_count_25hz = 0;
        command = 0;
    }
    // printk(">comm: %d\n", command);
}

void command_work_handler(struct k_work *work);
void command_timer_handler(struct k_timer *dummy);

#define COMMAND_TIMER_INTERVAL_MS 150

K_WORK_DEFINE(command_work, command_work_handler);
K_TIMER_DEFINE(command_timer, command_timer_handler, NULL);

void command_work_handler(struct k_work *work)
{
    // Read the current command value
    int current_command = command;

    // Perform actions based on the command value
    switch (current_command) {
        case -1:
            // Action for command = -1
            printk("Command is -1: Performing action for 12 Hz\n");
            break;
        case 0:
            // Action for command = 0
            printk("Command is 0: Performing default action\n");
            break;
        case 1:
            // Action for command = 1
            printk("Command is 1: Performing action for 25 Hz\n");
            break;
        default:
            // Handle unexpected command values
            printk("Unexpected command value: %d\n", current_command);
            break;
    }
}

void command_timer_handler(struct k_timer *dummy)
{
    k_work_submit(&command_work);
}

int print_count = 0;

void comm_sampling_work_handler(struct k_work *work)
{
    // Perform ADC sampling + conversion on all available channels
    for (size_t i = 0U; i < ARRAY_SIZE(adc_channels); i++) {
        (void) adc_sequence_init_dt(&adc_channels[i], &adc_seq);
        adc_err = adc_read_dt(&adc_channels[i], &adc_seq);
        if (adc_err < 0) {
            printk("Could not read ADC channel (%d)\n", adc_err);
            continue;
        }
        if (adc_channels[i].channel_cfg.differential) {
            adc_val = (int32_t) ((int16_t) adc_val_buf);
        } else {
            adc_val = (int32_t) adc_val_buf;
        }
        adc_err = adc_raw_to_millivolts_dt(&adc_channels[i], &adc_val);
        if (adc_err < 0) {
            printk("ADC conversion to mV failed (%d)\n", adc_err);
        } else if (adc_channels[i].channel_id == ADC_COMMS_CHAN) {
            // Store the comm's ADC value in ring buffer
            adc_buf[n % N] = adc_val;
            n += 1;
        }
    }

    // Compute ADC buffer stats
    update_buffer_stats(adc_buf, N, &adc_stats);
    
    // Normalize adc_value to [0, 100]
    norm = 100.0 * (adc_val - adc_stats.min) / (adc_stats.max - adc_stats.min);
    
    // Start timer on 0->1 transition
    if ((norm > DEMOD_THRESH) & (state == 0)) {
        f_buf[m % M] = DIV_ROUND_CLOSEST(1000, k_uptime_get() - t_rise_prev);
        m += 1;
        t_rise_prev = k_uptime_get();
        state = 1;
    // Update state on 1->0 transition
    } else if ((norm < DEMOD_THRESH) & (state == 1)) {
        state = 0;
    }
    ++print_count;
    if (print_count % 2 == 0) {
        printk(">value:%d\n", norm);
    }
    // printk(">state:%d\n", state);

    // Compute stats on received freqs
    update_buffer_stats(f_buf, M, &f_stats);

    // Output
    if (NRFX_ABS(adc_stats.range) >= MIN_MV_RANGE) {
        // printk(">mv:%d\n", adc_val);
        // printk(">norm:%d\n", norm);
        // printk(">favg:%d\n", f_stats.avg);
        // printk(">mvrange:%d\n", adc_stats.range);
    }

	update_command(f_stats.avg);
}

void robot_step(struct k_work *work);

//////////////////////// BLE //////////////////////////
#define MSEC_TO_BLE_UNITS(TIME_MS) ((TIME_MS) * 1000 / 625)

#define MIN_BLUETOOTH_INTERVAL MSEC_TO_BLE_UNITS(500)
#define MAX_BLUETOOTH_INTERVAL MSEC_TO_BLE_UNITS(501)

static struct bt_le_adv_param *adv_param =
    BT_LE_ADV_PARAM(BT_LE_ADV_OPT_NONE,
                    MIN_BLUETOOTH_INTERVAL,
                    MAX_BLUETOOTH_INTERVAL,
                    NULL);

#define DEVICE_NAME CONFIG_BT_DEVICE_NAME
#define DEVICE_NAME_LEN (sizeof(DEVICE_NAME) - 1)

static const struct bt_data ad[] = {
    BT_DATA_BYTES(BT_DATA_FLAGS, BT_LE_AD_NO_BREDR),
    BT_DATA(BT_DATA_NAME_COMPLETE, DEVICE_NAME, DEVICE_NAME_LEN),
};

// #define CUSTOM_ADV_TYPE 0xFF 
// #define COMPANY_ID_CODE 0x0059

// typedef struct the_adc_data {
//         uint16_t company_id;
//         int32_t adc_value;
// } the_adc_data_type;

// static the_adc_data_type the_adc_data = {COMPANY_ID_CODE, 0x00};

// static const struct bt_data ad[] = {
//         BT_DATA_BYTES(BT_DATA_FLAGS, BT_LE_AD_NO_BREDR),
//         BT_DATA(CUSTOM_ADV_TYPE, (const uint8_t *)&the_adc_data, sizeof(the_adc_data)),
// };

// static struct bt_data sd[1];

// void update_advertising_data(int32_t new_adc_value) {
//         the_adc_data.adc_value = new_adc_value;

//         int err = bt_le_adv_start(adv_param, ad, ARRAY_SIZE(ad), sd, ARRAY_SIZE(sd));
//         if (err) {
//                 printk("Advertising failed to start (Error %d)\n", err);
//         }
// }

// static const struct bt_data sd[] = {
// 	BT_DATA(BT_DATA_URI, url_data, sizeof(url_data)),
// };

//////////////////////// BLE //////////////////////////

//TIMING (all ms)
#define ADC_TIME 10 // Time delay to allow ADC reads of all channels
#define MOTOR_SHUTOFF_TIME 50 // Time delay to shutoff motors after being triggered
#define ROBOT_STEP_TIME 150 // Time delay between robot steps

/*Timing Constraints
ADC_TIME must be greater than the time it takes to read all ADC channels. readADC() is called ADC_TIME ms before robot_step() is called
MOTOR_SHUTOFF_TIME is the time the motors are left turned on after being triggered. This value must be smaller than ROBOT_STEP_TIME - ADC_TIME, 
        otherwise the ADC will be reading the motor capacitors while they are still being discharged
ROBOT_STEP_TIME is the time between robot steps. 

*/


//////////////////////// ADC //////////////////////////


// Constants for min val read on ADC for capacitor to discharge/recharge
#define SUPER_CAP_THRESHOLD_MV 2000 //190// Need to tune this value
#define MOTOR_CAP_RELEASE_THRESHOLD_MV 3000//310 //need to tune
#define SUPER_CAP_THRESHOLD (SUPER_CAP_THRESHOLD_MV / 2)
#define MOTOR_CAP_RELEASE_THRESHOLD (MOTOR_CAP_RELEASE_THRESHOLD_MV / 6)

// Define pins/state for capacitors
uint16_t cap_switch_state = 0; // 0: to supercap, 1: to motor cap
const struct device *gpio0;
const struct device *gpio1;
#define CAP_SWITCH_PIN 23  // gpio 0
#define MOTOR_1_CAP_PIN 13 // gpio 1
#define MOTOR_2_CAP_PIN 21 // gpio 0

// error variable
int err;

// ADC defs
#if !DT_NODE_EXISTS(DT_PATH(zephyr_user)) || \
	!DT_NODE_HAS_PROP(DT_PATH(zephyr_user), io_channels)
#error "No suitable devicetree overlay specified"
#endif

#define DT_SPEC_AND_COMMA(node_id, prop, idx) \
	ADC_DT_SPEC_GET_BY_IDX(node_id, idx),


uint32_t count = 0;
	uint16_t buf;
	struct adc_sequence sequence = {
		.buffer = &buf,
		/* buffer size in bytes, not number of samples */
		.buffer_size = sizeof(buf),
                .resolution = 10,
	};

// ADC MV Buffer
int32_t adc_outputs_mv[ARRAY_SIZE(adc_channels)];
#define SUPER_CAP_IDX 0
#define MOTOR_CAP_1_IDX 1
#define MOTOR_CAP_2_IDX 2

K_WORK_DEFINE(robot_step_work, robot_step);

void robot_step_timer_handler(struct k_timer *dummy)
{
        k_work_submit(&robot_step_work);
}
K_TIMER_DEFINE(robot_step_timer, robot_step_timer_handler, NULL);


int initCapGPIO()
{
        gpio0 = device_get_binding(DEVICE_DT_NAME(DT_NODELABEL(gpio0)));
        gpio1 = device_get_binding(DEVICE_DT_NAME(DT_NODELABEL(gpio1)));
        int cap_switch_pin_err;
        int motor_1_cap_pin_err;
        int motor_2_cap_pin_err;

        cap_switch_pin_err = gpio_pin_configure(gpio0, CAP_SWITCH_PIN, GPIO_OUTPUT | GPIO_OUTPUT_INIT_LOW);
        motor_1_cap_pin_err = gpio_pin_configure(gpio1, MOTOR_1_CAP_PIN, GPIO_OUTPUT | GPIO_OUTPUT_INIT_LOW);
        motor_2_cap_pin_err = gpio_pin_configure(gpio0, MOTOR_2_CAP_PIN, GPIO_OUTPUT | GPIO_OUTPUT_INIT_LOW);
        if (cap_switch_pin_err < 0 || motor_1_cap_pin_err < 0 || motor_2_cap_pin_err < 0) return -1;

       // printk("GPIO initialized\n");

        return 0;
}

int initADC()
{
       /* Configure channels individually prior to sampling. */
	for (size_t i = 0U; i < ARRAY_SIZE(adc_channels); i++) {
		if (!device_is_ready(adc_channels[i].dev)) {
			//printk("ADC controller device %s not ready\n", adc_channels[i].dev->name);
			return 1;
		}

		err = adc_channel_setup_dt(&adc_channels[i]);

		if (err < 0) {
			//printk("Could not setup channel #%d (%d)\n", i, err);
			return 1;
		}
	}
        return 0;
}

void readADC(struct k_work *work) //reads all ADC channels and stores mV outputs in adc_outputs_mv array
{
       //printk("ADC reading[%u]:\n", count++);
        for (size_t i = 0U; i < ARRAY_SIZE(adc_channels); i++) {

                //printk("- %s, channel %d: ",
                //        adc_channels[i].dev->name,
                //        adc_channels[i].channel_id);
                

                (void)adc_sequence_init_dt(&adc_channels[i], &sequence);

                err = adc_read(adc_channels[i].dev, &sequence);
                if (err < 0) {
                        //printk("Could not read (%d)\n", err);
                        continue;
                }

                /*
                        * If using differential mode, the 16 bit value
                        * in the ADC sample buffer should be a signed 2's
                        * complement value.
                        */
                if (adc_channels[i].channel_cfg.differential) {
                        adc_outputs_mv[i] = (int32_t)((int16_t)buf);
                } else {
                        adc_outputs_mv[i] = (int32_t)buf;
                }
               // printk("Raw Value: %d, ", adc_outputs_mv[i]);
                //adc_outputs_mv[i] = adc_raw_to_millivolts_dt(&adc_channels[i], &val);
                adc_raw_to_millivolts(adc_ref_internal(adc_channels[i].dev), adc_channels[i].channel_cfg.gain, adc_channels[i].resolution, &adc_outputs_mv[i]);
                //adc_outputs_mv[i] = (int32_t)buf;
               // printk("MV Value: %d\n", adc_outputs_mv[i]);
        }
        // update_advertising_data(adc_outputs_mv[MOTOR_CAP_1_IDX]);
}
K_WORK_DEFINE(adc_work, readADC);

void adc_timer_handler(struct k_timer *dummy)
{
        k_work_submit(&adc_work);
}
K_TIMER_DEFINE(adc_timer, adc_timer_handler, NULL);

void motorShutoff(struct k_work *work)
{
        gpio_pin_set(gpio1, MOTOR_1_CAP_PIN, 0);
        gpio_pin_set(gpio0, MOTOR_2_CAP_PIN, 0);
}

K_WORK_DEFINE(motor_shutoff_work, motorShutoff);

void motor_shutoff_timer_handler(struct k_timer *dummy)
{
        k_work_submit(&motor_shutoff_work);
}
K_TIMER_DEFINE(motor_shutoff_timer, motor_shutoff_timer_handler, NULL);


void robot_step(struct k_work *work)
{       
        printk(">command:%d\n", command);
        if(adc_outputs_mv[SUPER_CAP_IDX] <= SUPER_CAP_THRESHOLD){
                gpio_pin_set(gpio0, CAP_SWITCH_PIN, 0);
                //printk("Switching to supercap\n");
        }
        else
        {
                gpio_pin_set(gpio0, CAP_SWITCH_PIN, 1);
                //printk("Switching to motor caps\n");
                if(adc_outputs_mv[MOTOR_CAP_1_IDX] >= MOTOR_CAP_RELEASE_THRESHOLD && adc_outputs_mv[MOTOR_CAP_2_IDX] >= MOTOR_CAP_RELEASE_THRESHOLD){
                        printk(">command:%d\n", command);
                        if(command == -1) {
                            gpio_pin_set(gpio1, MOTOR_1_CAP_PIN, 1);
                        } else if (command == 1) {
                            gpio_pin_set(gpio0, MOTOR_2_CAP_PIN, 1);
                        } else {
                            gpio_pin_set(gpio1, MOTOR_1_CAP_PIN, 1);
                            gpio_pin_set(gpio0, MOTOR_2_CAP_PIN, 1);
                        }
                        k_timer_start(&motor_shutoff_timer, K_MSEC(MOTOR_SHUTOFF_TIME), K_NO_WAIT);
                }
        }
        k_timer_start(&adc_timer, K_MSEC(ROBOT_STEP_TIME - ADC_TIME), K_NO_WAIT);
        k_timer_start(&robot_step_timer, K_MSEC(ROBOT_STEP_TIME), K_NO_WAIT);
        //printk("Robot Step\n");
        return;
}
void main(void)
{
	if (initCapGPIO() != 0) return;

	if (initADC() != 0) return;

        // Initialize buffer stats
	adc_stats.max = 0;
	adc_stats.min = 0;
	adc_stats.avg = 0;
	adc_stats.range = 0;
	f_stats.max = 0;
	f_stats.min = 0;
	f_stats.avg = 0;
	f_stats.range = 0;

    k_timer_start(&comm_timer, K_MSEC(COMM_INTERVAL_MS), K_MSEC(COMM_INTERVAL_MS)); // K_MSEC(COMM_INTERVAL_MS)
	// k_timer_start(&command_timer, K_MSEC(COMMAND_TIMER_INTERVAL_MS), K_MSEC(COMMAND_TIMER_INTERVAL_MS));
	k_timer_start(&adc_timer, K_MSEC(ADC_TIME), K_NO_WAIT);
    k_timer_start(&robot_step_timer, K_MSEC(ADC_TIME*2), K_NO_WAIT);

    while (true) {
        // printk("test\n");
        k_sleep(K_MSEC(1000)); // Sleep for a second (or any other period) to reduce CPU usage
    }

	err = bt_enable(NULL);
	if (err) return;

        err = bt_le_adv_start(adv_param, ad, ARRAY_SIZE(ad), NULL, 0);
        // err = bt_le_adv_start(adv_param, ad, ARRAY_SIZE(ad), sd, ARRAY_SIZE(sd));
	if (err) return;

	for (;;) {
		k_cpu_idle();
	}
}
```
